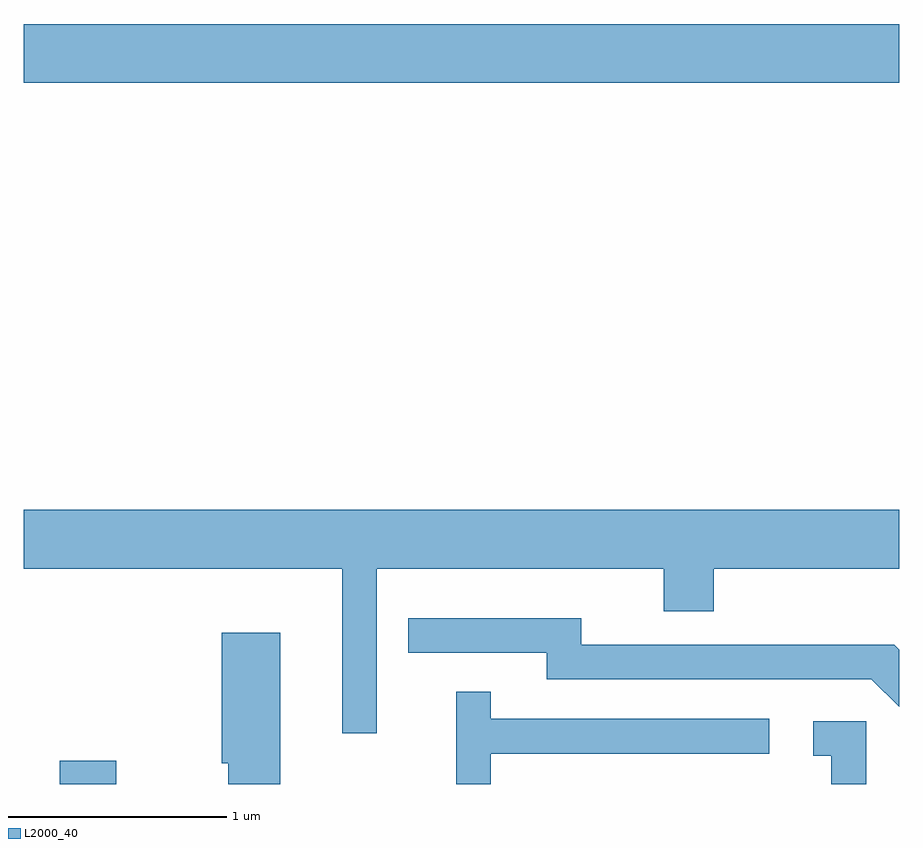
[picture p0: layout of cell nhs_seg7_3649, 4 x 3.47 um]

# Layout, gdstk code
import gdstk
lib = gdstk.Library(unit=1e-6, precision=1e-09)
def R(c, l, rs):  # rectangles x0, y0, x1, y1
    for r in rs: c.add(gdstk.rectangle(r[:2], r[2:], *l))
def P(c, l, *ps):  # polygons
    for p in ps: c.add(gdstk.Polygon(p, *l))
L2000_40 = (2000, 40)

nhs_seg7_3649 = lib.new_cell('nhs_seg7_3649')
R(nhs_seg7_3649, L2000_40, [(297.776,1682.252,298.034,1682.359), (297.611,1685.456,301.611,1685.724)])
P(nhs_seg7_3649, L2000_40, [(299.224,1683.236),(300.536,1683.236),(300.536,1683.041),(300.764,1683.041),(300.764,1683.236),(301.611,1683.236),(301.611,1683.504),(297.611,1683.504),(297.611,1683.236),(299.066,1683.236),(299.066,1682.483),(299.224,1682.483)],
  [(301.611,1682.865),(301.587,1682.889),(300.159,1682.889),(300.159,1683.009),(299.368,1683.009),(299.368,1682.851),(300.001,1682.851),(300.001,1682.731),(301.484,1682.731),(301.611,1682.604)],
  [(298.784,1682.944),(298.516,1682.944),(298.516,1682.346),(298.546,1682.346),(298.546,1682.252),(298.784,1682.252)],
  [(299.744,1682.391),(301.018,1682.391),(301.018,1682.549),(299.744,1682.549),(299.744,1682.673),(299.586,1682.673),(299.586,1682.252),(299.744,1682.252)],
  [(301.459,1682.539),(301.218,1682.539),(301.218,1682.381),(301.301,1682.381),(301.301,1682.252),(301.459,1682.252)])

lib.write_gds('nhs_seg7_3649.gds')
